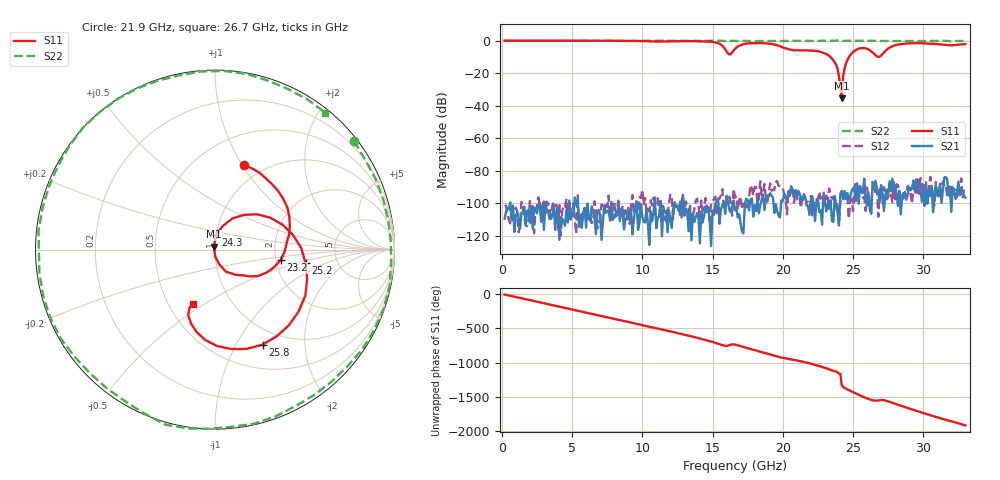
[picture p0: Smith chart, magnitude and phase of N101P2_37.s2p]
# GHZ S RI R 50
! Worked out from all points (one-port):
!   329 points, 200 MHz to 33 GHz, reference 50 ohm
!   lowest |S11| = -35.3 dB at 24.2 GHz (marker M1), VSWR 1.03, Z = 49.4 + j1.57 ohm
!   |S11| at or under -10 dB: 23.4 GHz to 24.72 GHz (1.325 GHz wide, 5.51 % of centre)
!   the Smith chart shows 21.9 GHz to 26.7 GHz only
!   S11 on the Smith chart (normalised r, x): 21.9 GHz: 0.81, +1.02; 23.2 GHz: 2.13, -0.29; 24.3 GHz: 1.00, +0.16; 25.2 GHz: 2.95, -0.60; 25.8 GHz: 0.79, -1.29; 26.7 GHz: 0.66, -0.45
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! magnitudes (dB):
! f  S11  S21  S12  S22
! 200 MHz  0.0  -109.3  -101.8  0.0
! 5.7 GHz  0.0  -114.9  -104.7  0.0
! 11.2 GHz  -0.5  -107.9  -103.5  -0.1
! 15.1 GHz  -0.9  -107.0  -97.5  -0.1
! 15.7 GHz  -3.2  -101.1  -91.1  -0.1
! 16.2 GHz  -8.5  -104.2  -95.8  -0.1
! 16.6 GHz  -5.0  -104.3  -96.5  -0.2
! 17.2 GHz  -2.2  -118.5  -100.1  -0.2
! 18.4 GHz  -1.5  -101.2  -86.4  -0.2
! 21.9 GHz  -6.0  -107.0  -106.2  -0.1
! 22.1 GHz  -6.1  -95.6  -107.3  -0.2
! 23.2 GHz  -8.6  -100.4  -100.8  -0.2
! 23.9 GHz  -17.3  -105.8  -99.2  0.1
! 24.2 GHz  -35.3  -92.3  -98.0  -0.2
! 24.3 GHz  -22.0  -97.5  -98.7  -0.2
! 24.6 GHz  -12.0  -93.6  -96.5  -0.1
! 25.2 GHz  -5.8  -98.6  -86.4  -0.1
! 25.8 GHz  -4.6  -84.7  -96.0  0.0
! 26.7 GHz  -9.7  -90.9  -89.8  -0.2
! 27.6 GHz  -4.3  -86.4  -93.9  -0.2
! 29 GHz  -1.6  -90.0  -91.6  -0.3
! 33 GHz  -2.1  -96.5  -91.4  -0.1
